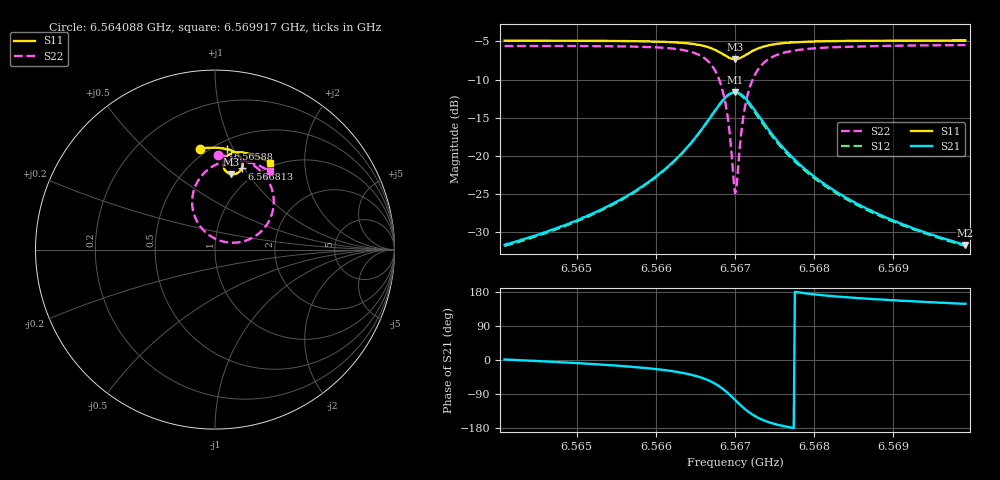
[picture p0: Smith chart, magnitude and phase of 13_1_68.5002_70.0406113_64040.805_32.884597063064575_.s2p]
#  HZ  S  RI  R  50.00
! Rohde & Schwarz Vector Network Analyzer
! Rohde-Schwarz,ZNB20-2Port,1311601062101988,3.16
! Created: UTC 3/20/2024, 5:04:14 PM
! freq[Hz]  re:S11  im:S11  re:S21  im:S21  re:S12  im:S12  re:S22  im:S22
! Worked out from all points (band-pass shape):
!   401 points, 6.564088 GHz to 6.569917 GHz, reference 50 ohm
!   highest |S21| = -11.65 dB at 6.567002 GHz (marker M1); lowest = -31.7 dB at 6.569917 GHz (marker M2)
!   |S21| within 3 dB of the highest: 6.566711 GHz to 6.567294 GHz (582.7 kHz wide, 0.00887 % of centre)
!   lowest |S11| = -7.3 dB at 6.567002 GHz (marker M3), VSWR 2.51, Z = 40.4 + j41.7 ohm
!   |S11| at or under -10 dB: nowhere
!   |S22| runs from -24.9 to -5.5 dB; largest |S21 - S12| = 0.012
!   S11 on the Smith chart (normalised r, x): 6.564088 GHz: 0.45, +0.75; 6.56588 GHz: 0.58, +0.95; 6.566813 GHz: 0.83, +0.97; 6.569917 GHz: 0.94, +1.35
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6.5640875e9  -0.0836 0.5628  0.026 0.000625  0.0256 0.000148  0.0153 0.5245
6.565064e9  -0.00466 0.5679  0.0386 -0.00606  0.0379 -0.00675  0.1045 0.5144
6.5658801e9  0.0688 0.5589  0.0613 -0.0238  0.0603 -0.0248  0.2021 0.4771
6.5660404e9  0.085 0.5541  0.0688 -0.0319  0.0679 -0.0326  0.2267 0.4609
6.5663611e9  0.1203 0.5362  0.0888 -0.0621  0.0874 -0.0632  0.2851 0.4014
6.5665797e9  0.1449 0.5094  0.1019 -0.1081  0.0996 -0.11  0.3231 0.3124
6.5667108e9  0.1539 0.4814  0.0975 -0.1571  0.0939 -0.1597  0.3227 0.2192
6.5668129e9  0.1489 0.4523  0.0718 -0.207  0.0656 -0.2096  0.2785 0.1252
6.5669003e9  0.1289 0.4287  0.0205 -0.2458  0.0113 -0.2462  0.1858 0.0549
6.5669295e9  0.1184 0.4233  -0.00297 -0.2534  -0.0131 -0.2526  0.1433 0.0424
6.5669877e9  0.0945 0.42  -0.0555 -0.2551  -0.0659 -0.2507  0.0501 0.0436
6.5670023e9  0.0882 0.4208  -0.0688 -0.2522  -0.0789 -0.2469  0.0272 0.0499
6.5670315e9  0.0764 0.4249  -0.0938 -0.2425  -0.1032 -0.2356  -0.0158 0.0695
6.5670898e9  0.0575 0.4396  -0.1349 -0.2112  -0.1415 -0.2016  -0.0825 0.1296
6.5671335e9  0.049 0.4543  -0.1547 -0.1816  -0.1589 -0.1716  -0.1124 0.1838
6.5671918e9  0.0452 0.4743  -0.1672 -0.1422  -0.1686 -0.1324  -0.1272 0.2541
6.5672647e9  0.0492 0.496  -0.1672 -0.0997  -0.1662 -0.0915  -0.1189 0.3276
6.567527e9  0.0882 0.5344  -0.1253 -0.0215  -0.1227 -0.0181  -0.0235 0.457
6.5679788e9  0.1469 0.5421  -0.0745 0.00798  -0.0727 0.0091  0.0963 0.4963
6.5683868e9  0.1871 0.5349  -0.0524 0.013  -0.0512 0.0136  0.1616 0.4928
6.5689552e9  0.2345 0.5189  -0.0358 0.0143  -0.035 0.0145  0.2255 0.4758
6.5699171e9  0.3039 0.4834  -0.022 0.0136  -0.0216 0.0138  0.3054 0.4363
